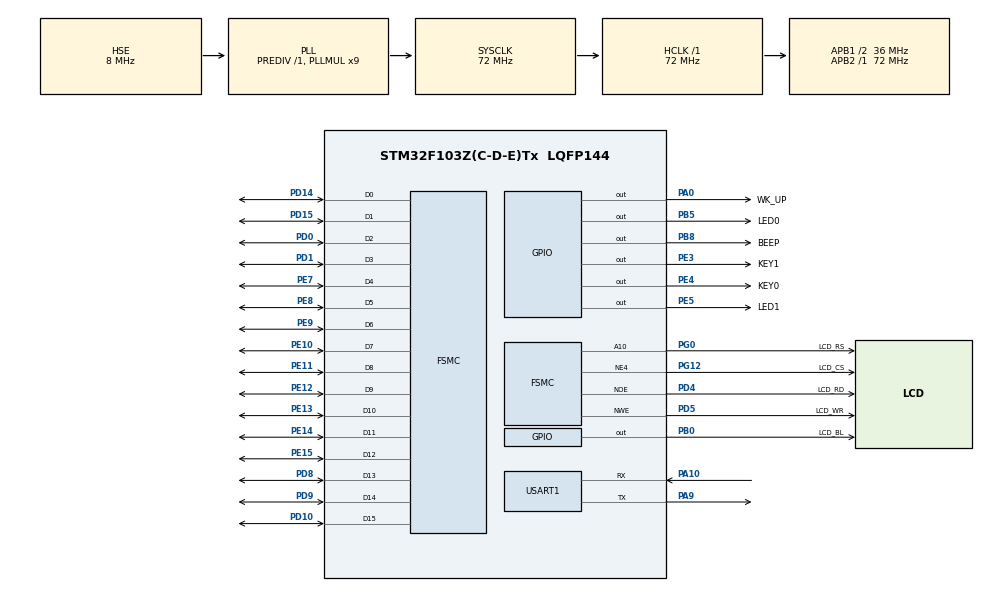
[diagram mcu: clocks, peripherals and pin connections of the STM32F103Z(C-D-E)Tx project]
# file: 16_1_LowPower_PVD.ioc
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FSMC.AddressSetupTime1=0
FSMC.BusTurnAroundDuration1=15
FSMC.DataSetupTime1=15
FSMC.ExtendedAddressSetupTime1=0
FSMC.ExtendedDataSetupTime1=1
FSMC.ExtendedMode1=FSMC_EXTENDED_MODE_ENABLE
Mcu.Family=STM32F1
Mcu.Name=STM32F103Z(C-D-E)Tx
Mcu.Package=LQFP144
NVIC.PriorityGroup=NVIC_PRIORITYGROUP_2
NVIC.USART1_IRQn=true\:2\:2\:true\:false\:true\:true\:true\:true
OSC_IN.Mode=HSE-External-Oscillator
OSC_IN.Signal=RCC_OSC_IN
OSC_OUT.Mode=HSE-External-Oscillator
OSC_OUT.Signal=RCC_OSC_OUT
PA0-WKUP.GPIO_Label=WK_UP
PA0-WKUP.GPIO_PuPd=GPIO_PULLDOWN
PA0-WKUP.GPIO_Speed=GPIO_SPEED_FREQ_HIGH
PA0-WKUP.PinState=GPIO_PIN_RESET
PA0-WKUP.Signal=GPIO_Output
PA10.Mode=Asynchronous
PA10.Signal=USART1_RX
PA13.Mode=Serial_Wire
PA13.Signal=SYS_JTMS-SWDIO
PA14.Mode=Serial_Wire
PA14.Signal=SYS_JTCK-SWCLK
PA9.Mode=Asynchronous
PA9.Signal=USART1_TX
PB0.GPIO_Label=LCD_BL
PB0.GPIO_PuPd=GPIO_PULLUP
PB0.GPIO_Speed=GPIO_SPEED_FREQ_HIGH
PB0.PinState=GPIO_PIN_SET
PB0.Signal=GPIO_Output
PB5.GPIO_Label=LED0
PB5.GPIO_PuPd=GPIO_PULLUP
PB5.GPIO_Speed=GPIO_SPEED_FREQ_HIGH
PB5.PinState=GPIO_PIN_SET
PB5.Signal=GPIO_Output
PB8.GPIO_Label=BEEP
PB8.GPIO_ModeDefaultOutputPP=GPIO_MODE_OUTPUT_PP
PB8.GPIO_PuPd=GPIO_PULLDOWN
PB8.GPIO_Speed=GPIO_SPEED_FREQ_HIGH
PB8.PinState=GPIO_PIN_RESET
PB8.Signal=GPIO_Output
PC14-OSC32_IN.Mode=LSE-External-Oscillator
PC14-OSC32_IN.Signal=RCC_OSC32_IN
PC15-OSC32_OUT.Mode=LSE-External-Oscillator
PC15-OSC32_OUT.Signal=RCC_OSC32_OUT
PD0.Signal=FSMC_D2_DA2
PD1.Signal=FSMC_D3_DA3
PD10.Signal=FSMC_D15_DA15
PD14.Signal=FSMC_D0_DA0
PD15.Signal=FSMC_D1_DA1
PD4.GPIO_Label=LCD_RD
PD4.Signal=FSMC_NOE
PD5.GPIO_Label=LCD_WR
PD5.Signal=FSMC_NWE
PD8.Signal=FSMC_D13_DA13
PD9.Signal=FSMC_D14_DA14
PE10.Signal=FSMC_D7_DA7
PE11.Signal=FSMC_D8_DA8
PE12.Signal=FSMC_D9_DA9
PE13.Signal=FSMC_D10_DA10
PE14.Signal=FSMC_D11_DA11
PE15.Signal=FSMC_D12_DA12
PE3.GPIO_Label=KEY1
PE3.GPIO_PuPd=GPIO_PULLUP
PE3.GPIO_Speed=GPIO_SPEED_FREQ_HIGH
PE3.PinState=GPIO_PIN_SET
PE3.Signal=GPIO_Output
PE4.GPIO_Label=KEY0
PE4.GPIO_PuPd=GPIO_PULLUP
PE4.GPIO_Speed=GPIO_SPEED_FREQ_HIGH
PE4.PinState=GPIO_PIN_SET
PE4.Signal=GPIO_Output
PE5.GPIO_Label=LED1
PE5.GPIO_PuPd=GPIO_PULLUP
PE5.GPIO_Speed=GPIO_SPEED_FREQ_HIGH
PE5.PinState=GPIO_PIN_SET
PE5.Signal=GPIO_Output
PE7.Signal=FSMC_D4_DA4
PE8.Signal=FSMC_D5_DA5
PE9.Signal=FSMC_D6_DA6
PG0.GPIO_Label=LCD_RS
PG0.Signal=FSMC_A10
PG12.GPIO_Label=LCD_CS
PG12.Mode=NorPsramChipSelect4_1
PG12.Signal=FSMC_NE4
ProjectManager.HeapSize=0x200
ProjectManager.StackSize=0x400
ProjectManager.TargetToolchain=STM32CubeIDE
RCC.AHBFreq_Value=72000000
RCC.APB1CLKDivider=RCC_HCLK_DIV2
RCC.APB1Freq_Value=36000000
RCC.APB1TimFreq_Value=72000000
RCC.APB2Freq_Value=72000000
RCC.APB2TimFreq_Value=72000000
RCC.HCLKFreq_Value=72000000
RCC.PLLMUL=RCC_PLL_MUL9
RCC.PLLSourceVirtual=RCC_PLLSOURCE_HSE
RCC.SYSCLKFreq_VALUE=72000000
RCC.SYSCLKSource=RCC_SYSCLKSOURCE_PLLCLK
RCC.USBFreq_Value=72000000
SH.FSMC_A10.0=FSMC_A10,A10_1
SH.FSMC_D0_DA0.0=FSMC_D0,16b-d1
SH.FSMC_D10_DA10.0=FSMC_D10,16b-d1
SH.FSMC_D11_DA11.0=FSMC_D11,16b-d1
SH.FSMC_D12_DA12.0=FSMC_D12,16b-d1
SH.FSMC_D13_DA13.0=FSMC_D13,16b-d1
SH.FSMC_D14_DA14.0=FSMC_D14,16b-d1
SH.FSMC_D15_DA15.0=FSMC_D15,16b-d1
SH.FSMC_D1_DA1.0=FSMC_D1,16b-d1
SH.FSMC_D2_DA2.0=FSMC_D2,16b-d1
SH.FSMC_D3_DA3.0=FSMC_D3,16b-d1
SH.FSMC_D4_DA4.0=FSMC_D4,16b-d1
SH.FSMC_D5_DA5.0=FSMC_D5,16b-d1
SH.FSMC_D6_DA6.0=FSMC_D6,16b-d1
SH.FSMC_D7_DA7.0=FSMC_D7,16b-d1
SH.FSMC_D8_DA8.0=FSMC_D8,16b-d1
SH.FSMC_D9_DA9.0=FSMC_D9,16b-d1
SH.FSMC_NOE.0=FSMC_NOE,Lcd1
SH.FSMC_NWE.0=FSMC_NWE,Lcd1
USART1.VirtualMode=VM_ASYNC
board=custom

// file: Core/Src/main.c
/* USER CODE BEGIN Header */

/* USER CODE END Header */
#include "main.h"
#include "usart.h"
#include "gpio.h"
#include "fsmc.h"

/* USER CODE BEGIN Includes */
#include "../../BSP/LED/led.h"
#include "../../BSP/BEEP/beep.h"
#include "../../BSP/KEY/key.h"
#include "../../BSP/LCD/lcd.h"
#include "../../BSP/PWR/pwr.h"
#include "../../SYSTEM/delay/delay.h"
#include "../../SYSTEM/sys/sys.h"
/* USER CODE END Includes */

void SystemClock_Config(void);

int main(void)
{
  /* USER CODE BEGIN 1 */
  uint8_t t = 0;
  /* USER CODE END 1 */

  /* MCU Configuration--------------------------------------------------------*/

  /* Reset of all peripherals, Initializes the Flash interface and the Systick. */
  HAL_Init();

  /* Configure the system clock */
  SystemClock_Config();

  /* USER CODE BEGIN SysInit */
  delay_init(72);						   /* 初始化延时函数 */
  /* USER CODE END SysInit */

  /* Initialize all configured peripherals */
  MX_GPIO_Init();
  MX_FSMC_Init();
  MX_USART1_UART_Init();
  /* USER CODE BEGIN 2 */
  lcd_init();                         /* 初始化LCD */
  pwr_pvd_init(PWR_PVDLEVEL_7);       /* PVD 2.9V检测 */

  lcd_show_string(30, 50, 200, 16, 16, "STM32", RED);
  lcd_show_string(30, 70, 200, 16, 16, "PVD TEST", RED);
  lcd_show_string(30, 90, 200, 16, 16, "ATOM@ALIENTEK", RED);
  /* 默认LCD显示电压正常 */
  lcd_show_string(30, 110, 200, 16, 16, "PVD Voltage OK! ", BLUE);
  /* USER CODE END 2 */

  /* Infinite loop */
  /* USER CODE BEGIN WHILE */
  while (1)
  {
      if ((t % 20) == 0)
      {
          LED0_TOGGLE();              /* 每200ms,翻转一次LED0 */
      }

      delay_ms(10);
      t++;

    /* USER CODE END WHILE */

  }
}

void SystemClock_Config(void)
{
  RCC_OscInitTypeDef RCC_OscInitStruct = {0};
  RCC_ClkInitTypeDef RCC_ClkInitStruct = {0};

  /** Initializes the RCC Oscillators according to the specified parameters
  * in the RCC_OscInitTypeDef structure.
  */
  RCC_OscInitStruct.OscillatorType = RCC_OSCILLATORTYPE_HSE;
  RCC_OscInitStruct.HSEState = RCC_HSE_ON;
  RCC_OscInitStruct.HSEPredivValue = RCC_HSE_PREDIV_DIV1;
  RCC_OscInitStruct.HSIState = RCC_HSI_ON;
  RCC_OscInitStruct.PLL.PLLState = RCC_PLL_ON;
  RCC_OscInitStruct.PLL.PLLSource = RCC_PLLSOURCE_HSE;
  RCC_OscInitStruct.PLL.PLLMUL = RCC_PLL_MUL9;
  if (HAL_RCC_OscConfig(&RCC_OscInitStruct) != HAL_OK)
  {
    Error_Handler();
  }

  /** Initializes the CPU, AHB and APB buses clocks
  */
  RCC_ClkInitStruct.ClockType = RCC_CLOCKTYPE_HCLK|RCC_CLOCKTYPE_SYSCLK
                              |RCC_CLOCKTYPE_PCLK1|RCC_CLOCKTYPE_PCLK2;
  RCC_ClkInitStruct.SYSCLKSource = RCC_SYSCLKSOURCE_PLLCLK;
  RCC_ClkInitStruct.AHBCLKDivider = RCC_SYSCLK_DIV1;
  RCC_ClkInitStruct.APB1CLKDivider = RCC_HCLK_DIV2;
  RCC_ClkInitStruct.APB2CLKDivider = RCC_HCLK_DIV1;

  if (HAL_RCC_ClockConfig(&RCC_ClkInitStruct, FLASH_LATENCY_2) != HAL_OK)
  {
    Error_Handler();
  }
}

void Error_Handler(void)
{
  __disable_irq();
  while (1)
  {
  }
}
